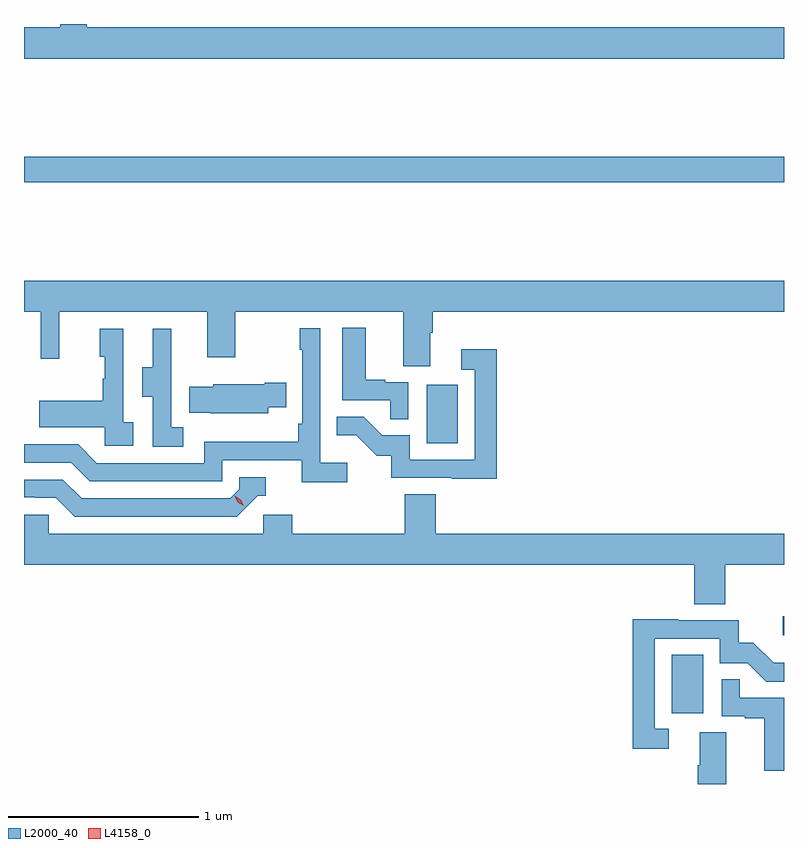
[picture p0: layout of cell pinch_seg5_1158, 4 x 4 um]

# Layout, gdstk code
import gdstk
lib = gdstk.Library(unit=1e-6, precision=1e-09)
def R(c, l, rs):  # rectangles x0, y0, x1, y1
    for r in rs: c.add(gdstk.rectangle(r[:2], r[2:], *l))
def P(c, l, *ps):  # polygons
    for p in ps: c.add(gdstk.Polygon(p, *l))
L2000_40 = (2000, 40)
L4158_0 = (4158, 0)

pinch_seg5_1158 = lib.new_cell('pinch_seg5_1158')
R(pinch_seg5_1158, L2000_40, [(830.876,835.998,831.04,836.305), (831.459,836.408,831.466,836.51), (829.586,837.42,829.75,837.727), (827.466,838.792,831.466,838.928)])
P(pinch_seg5_1158, L2000_40, [(831.466,839.608),(827.797,839.608),(827.797,839.626),(827.657,839.626),(827.657,839.608),(827.466,839.608),(827.466,839.444),(831.466,839.444)],
  [(829.603,838),(829.616,838),(829.616,838.112),(831.466,838.112),(831.466,838.276),(827.466,838.276),(827.466,838.112),(827.553,838.112),(827.553,837.864),(827.651,837.864),(827.651,838.112),(828.431,838.112),(828.431,837.873),(828.579,837.873),(828.579,838.112),(829.463,838.112),(829.463,837.826),(829.603,837.826)],
  [(829.488,837.741),(829.367,837.741),(829.367,837.754),(829.264,837.754),(829.264,838.027),(829.142,838.027),(829.142,837.645),(829.393,837.645),(829.393,837.547),(829.488,837.547)],
  [(829.168,837.316),(829.026,837.316),(829.026,838.024),(828.918,838.024),(828.918,837.911),(828.93,837.911),(828.93,837.523),(828.91,837.523),(828.91,837.427),(828.414,837.427),(828.414,837.315),(827.85,837.315),(827.751,837.414),(827.466,837.414),(827.466,837.318),(827.714,837.318),(827.813,837.219),(828.51,837.219),(828.51,837.33),(828.929,837.33),(828.929,837.214),(829.168,837.214)],
  [(828.304,837.503),(828.24,837.503),(828.24,837.807),(828.242,837.807),(828.242,838.021),(828.143,838.021),(828.143,837.819),(828.089,837.819),(828.089,837.664),(828.144,837.664),(828.144,837.4),(828.304,837.4)],
  [(828.04,837.53),(827.988,837.53),(827.988,838.021),(827.864,838.021),(827.864,837.876),(827.89,837.876),(827.89,837.758),(827.88,837.758),(827.88,837.643),(827.545,837.643),(827.545,837.503),(827.892,837.503),(827.892,837.405),(828.04,837.405)],
  [(829.955,837.913),(829.767,837.913),(829.767,837.807),(829.839,837.807),(829.839,837.333),(829.497,837.333),(829.497,837.462),(829.352,837.462),(829.254,837.56),(829.111,837.56),(829.111,837.461),(829.215,837.461),(829.322,837.354),(829.399,837.354),(829.399,837.237),(829.717,837.237),(829.717,837.232),(829.955,837.232)],
  [(828.751,837.608),(828.845,837.608),(828.845,837.738),(828.734,837.738),(828.734,837.73),(828.462,837.73),(828.462,837.718),(828.337,837.718),(828.337,837.581),(828.445,837.581),(828.445,837.578),(828.751,837.578)],
  [(828.696,837.144),(828.739,837.144),(828.739,837.24),(828.6,837.24),(828.6,837.177),(828.552,837.129),(827.769,837.129),(827.67,837.228),(827.466,837.228),(827.466,837.135),(827.526,837.135),(827.526,837.132),(827.633,837.132),(827.732,837.033),(828.585,837.033)],
  [(831.158,836.78),(831.466,836.78),(831.466,836.944),(829.634,836.944),(829.634,837.152),(829.469,837.152),(829.469,836.944),(828.878,836.944),(828.878,837.042),(828.726,837.042),(828.726,836.944),(827.595,836.944),(827.595,837.042),(827.466,837.042),(827.466,836.78),(830.993,836.78),(830.993,836.572),(831.158,836.572)],
  [(830.86,835.917),(830.787,835.917),(830.787,836.391),(831.129,836.391),(831.129,836.262),(831.274,836.262),(831.372,836.164),(831.466,836.164),(831.466,836.263),(831.411,836.263),(831.304,836.37),(831.228,836.37),(831.228,836.487),(830.909,836.487),(830.909,836.492),(830.671,836.492),(830.671,835.812),(830.86,835.812)],
  [(831.466,836.079),(831.233,836.079),(831.233,836.177),(831.138,836.177),(831.138,835.983),(831.259,835.983),(831.259,835.971),(831.362,835.971),(831.362,835.697),(831.466,835.697)],
  [(831.163,835.898),(831.023,835.898),(831.023,835.724),(831.011,835.724),(831.011,835.626),(831.163,835.626)])
P(pinch_seg5_1158, L4158_0, [(828.622,837.09),(828.592,837.11),(828.576,837.142),(828.576,837.143),(828.576,837.143),(828.606,837.123),(828.622,837.09),(828.622,837.09)])

lib.write_gds('pinch_seg5_1158.gds')
